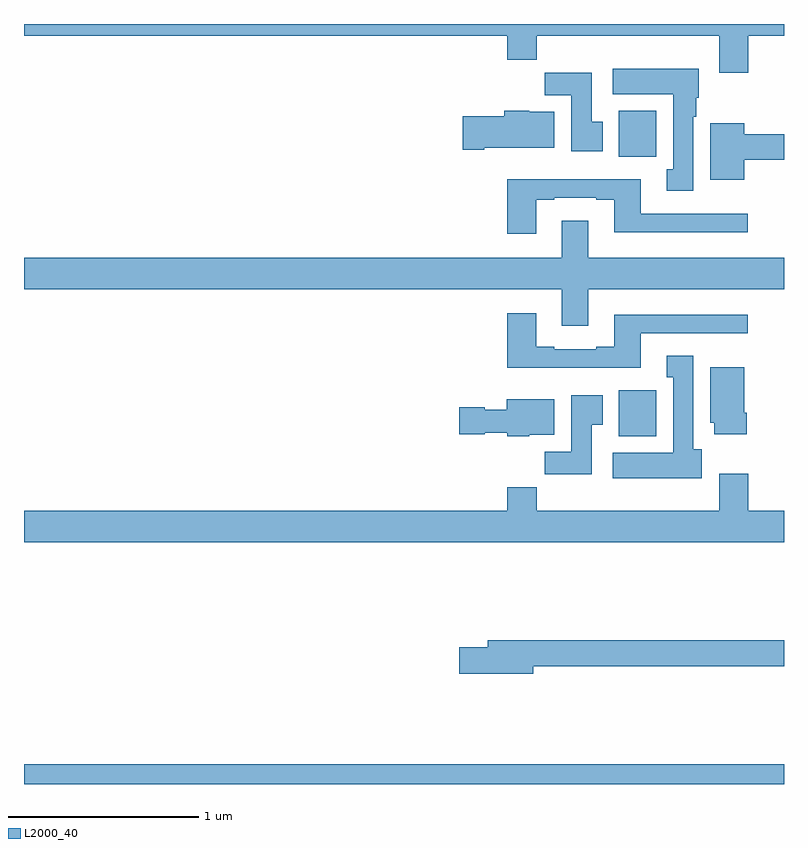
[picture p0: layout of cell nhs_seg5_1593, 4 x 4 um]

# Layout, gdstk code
import gdstk
lib = gdstk.Library(unit=1e-6, precision=1e-09)
def R(c, l, rs):  # rectangles x0, y0, x1, y1
    for r in rs: c.add(gdstk.rectangle(r[:2], r[2:], *l))
def P(c, l, *ps):  # polygons
    for p in ps: c.add(gdstk.Polygon(p, *l))
L2000_40 = (2000, 40)

nhs_seg5_1593 = lib.new_cell('nhs_seg5_1593')
R(nhs_seg5_1593, L2000_40, [(207,876.799,211,876.904), (210.131,878.63,210.328,878.872), (210.131,880.1,210.328,880.342)])
P(nhs_seg5_1593, L2000_40, [(207,880.736),(209.543,880.736),(209.543,880.612),(209.699,880.612),(209.699,880.736),(210.659,880.736),(210.659,880.542),(210.812,880.542),(210.812,880.736),(211,880.736),(211,880.799),(207,880.799)],
  [(210.523,880.31),(210.538,880.31),(210.538,880.41),(210.55,880.41),(210.55,880.564),(210.099,880.564),(210.099,880.43),(210.416,880.43),(210.416,880.034),(210.383,880.034),(210.383,879.921),(210.523,879.921)],
  [(210.046,880.284),(209.989,880.284),(209.989,880.543),(209.74,880.543),(209.74,880.424),(209.879,880.424),(209.879,880.128),(210.046,880.128)],
  [(209.422,880.148),(209.791,880.148),(209.791,880.336),(209.658,880.336),(209.658,880.342),(209.528,880.342),(209.528,880.314),(209.31,880.314),(209.31,880.136),(209.422,880.136)],
  [(210.79,880.084),(211,880.084),(211,880.22),(210.79,880.22),(210.79,880.276),(210.611,880.276),(210.611,879.98),(210.79,879.98)],
  [(209.695,879.873),(209.791,879.873),(209.791,879.885),(210.011,879.885),(210.011,879.873),(210.107,879.873),(210.107,879.704),(210.808,879.704),(210.808,879.801),(210.247,879.801),(210.247,879.982),(209.543,879.982),(209.543,879.696),(209.695,879.696)],
  [(209.971,879.404),(211,879.404),(211,879.568),(209.971,879.568),(209.971,879.763),(209.831,879.763),(209.831,879.568),(207,879.568),(207,879.404),(209.831,879.404),(209.831,879.21),(209.971,879.21)],
  [(210.247,879.171),(210.808,879.171),(210.808,879.268),(210.107,879.268),(210.107,879.1),(210.011,879.1),(210.011,879.087),(209.791,879.087),(209.791,879.1),(209.695,879.1),(209.695,879.277),(209.543,879.277),(209.543,878.99),(210.247,878.99)],
  [(210.568,878.562),(210.523,878.562),(210.523,879.052),(210.383,879.052),(210.383,878.939),(210.416,878.939),(210.416,878.542),(210.099,878.542),(210.099,878.408),(210.568,878.408)],
  [(210.803,878.752),(210.79,878.752),(210.79,878.992),(210.611,878.992),(210.611,878.7),(210.632,878.7),(210.632,878.64),(210.803,878.64)],
  [(209.989,878.689),(210.046,878.689),(210.046,878.845),(209.879,878.845),(209.879,878.548),(209.74,878.548),(209.74,878.43),(209.989,878.43)],
  [(209.658,878.636),(209.791,878.636),(209.791,878.824),(209.54,878.824),(209.54,878.77),(209.424,878.77),(209.424,878.783),(209.292,878.783),(209.292,878.641),(209.424,878.641),(209.424,878.648),(209.544,878.648),(209.544,878.63),(209.658,878.63)],
  [(211,878.236),(210.812,878.236),(210.812,878.431),(210.659,878.431),(210.659,878.236),(209.699,878.236),(209.699,878.36),(209.543,878.36),(209.543,878.236),(207,878.236),(207,878.072),(211,878.072)],
  [(209.68,877.42),(211,877.42),(211,877.556),(209.441,877.556),(209.441,877.52),(209.292,877.52),(209.292,877.378),(209.68,877.378)])

lib.write_gds('nhs_seg5_1593.gds')
